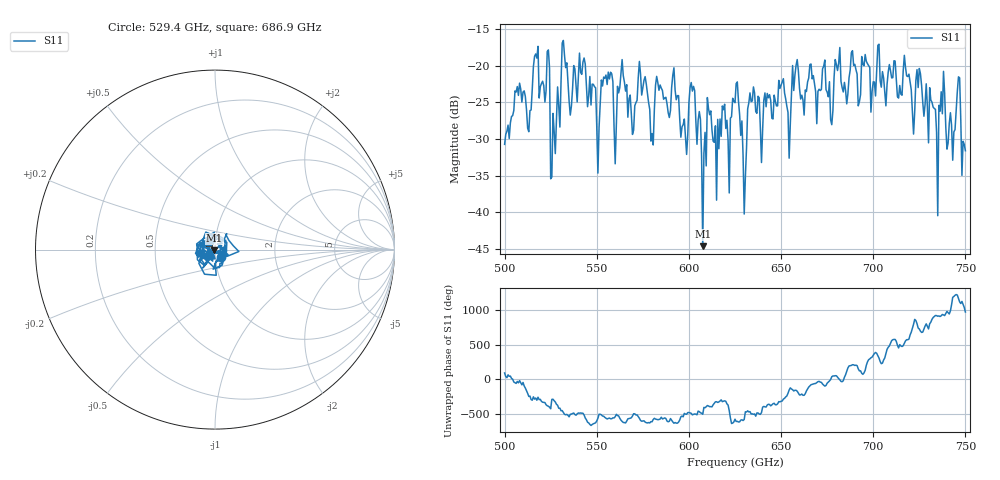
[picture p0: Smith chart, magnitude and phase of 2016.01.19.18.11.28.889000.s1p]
!Created with skrf (http://scikit-rf.org).
# GHz S RI R 50.0
!freq ReS11 ImS11
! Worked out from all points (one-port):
!   401 points, 500 GHz to 750 GHz, reference 50 ohm
!   lowest |S11| = -44.6 dB at 607.5 GHz (marker M1), VSWR 1.01, Z = 49.6 - j0.377 ohm
!   |S11| at or under -10 dB: start of sweep to end of sweep
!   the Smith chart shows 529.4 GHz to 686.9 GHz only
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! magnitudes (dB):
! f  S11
! 500 GHz  -30.7
! 506.9 GHz  -22.8
! 513.1 GHz  -29.0
! 516.9 GHz  -18.4
! 523.1 GHz  -18.0
! 526.2 GHz  -26.5
! 531.2 GHz  -16.9
! 541.9 GHz  -21.2
! 550.6 GHz  -34.7
! 562.5 GHz  -23.0
! 576.2 GHz  -21.5
! 580 GHz  -29.3
! 583.1 GHz  -22.3
! 593.8 GHz  -24.1
! 598.1 GHz  -29.8
! 601.9 GHz  -23.5
! 607.5 GHz  -44.6
! 611.2 GHz  -26.7
! 621.2 GHz  -30.2
! 625 GHz  -25.0
! 630 GHz  -40.3
! 634.4 GHz  -24.8
! 656.2 GHz  -20.0
! 687.5 GHz  -20.6
! 718.8 GHz  -21.5
! 733.8 GHz  -26.0
! 746.2 GHz  -21.5
! 750 GHz  -31.6
